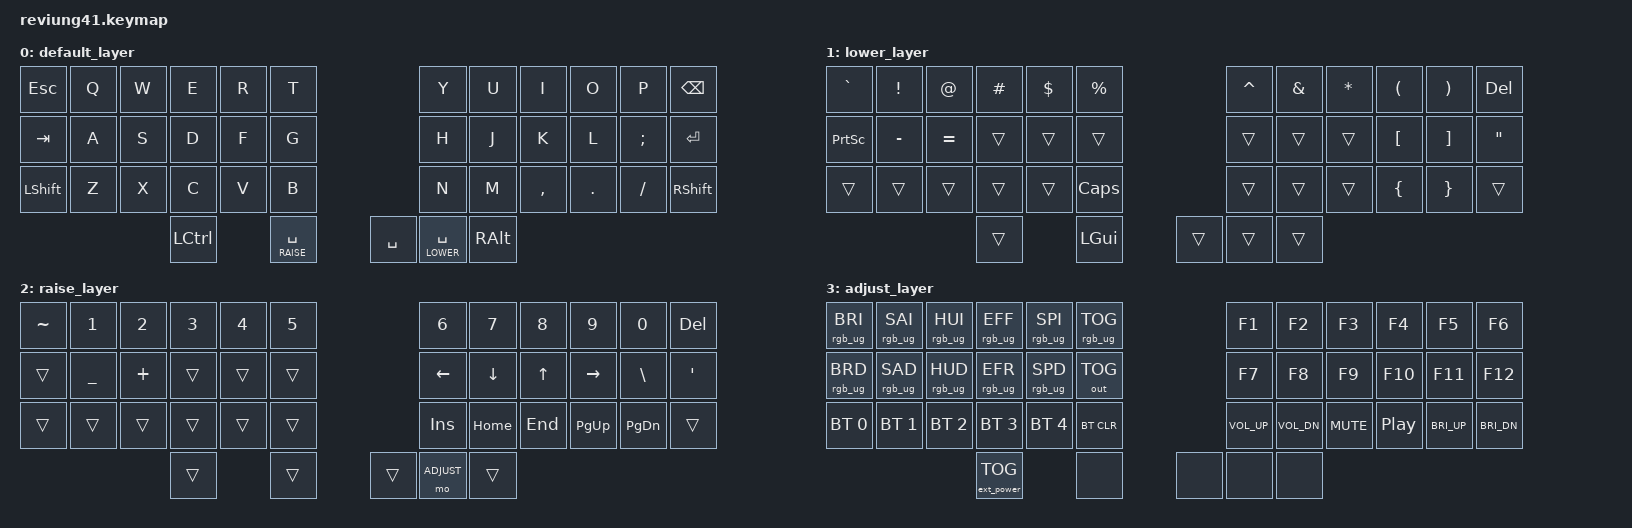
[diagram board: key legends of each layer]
/*
 * Copyright (c) 2023 The ZMK Contributors
 *
 * SPDX-License-Identifier: MIT
 */

#include <behaviors.dtsi>
#include <dt-bindings/zmk/keys.h>
#include <dt-bindings/zmk/bt.h>
#include <dt-bindings/zmk/rgb.h>
#include <dt-bindings/zmk/outputs.h>
#include <dt-bindings/zmk/ext_power.h>

#define DEFAULT 0
#define LOWER   1
#define RAISE   2
#define ADJUST  3

/ {
        keymap {
                compatible = "zmk,keymap";

                default_layer {
// ----------------------------------------------------------------------------------------
// |  ESC |  Q  |  W  |  E  |  R    |  T  |       |  Y  |  U   |  I  |  O  |  P  |  BKSP  |
// |  TAB |  A  |  S  |  D  |  F    |  G  |       |  H  |  J   |  K  |  L  |  ;  |  ENT   |
// | SHFT |  Z  |  X  |  C  |  V    |  B  |       |  N  |  M   |  ,  |  .  |  /  |  SHFT  |
//                          |  CTRL | LWR | SPACE | RSE | ALT  |
// ----------------------------------------------------------------------------------------
                        bindings = <
   &kp ESC   &kp Q &kp W &kp E     &kp R &kp T                       &kp Y           &kp U    &kp I     &kp O   &kp P    &kp BSPC
   &kp TAB   &kp A &kp S &kp D     &kp F &kp G                       &kp H           &kp J    &kp K     &kp L   &kp SEMI &kp ENTER
   &kp LSHFT &kp Z &kp X &kp C     &kp V &kp B                       &kp N           &kp M    &kp COMMA &kp DOT &kp FSLH &kp RSHFT
                         &kp LCTRL       &lt RAISE SPACE  &kp SPACE  &lt LOWER SPACE &kp RALT
                        >;
                };

                lower_layer {
// -----------------------------------------------------------------------------------------
// |  GRV     |  !  |  @  |  #  |  $  |    %   |       |  ^  |  &  |  *  |  (  |  )  | DEL |
// |  PRSCRN  |  -  |  =  |     |     |        |       |     |     |     |  [  |  ]  |  "  |
// |          |     |     |     |     |  CAPS  |       |     |     |     |  {  |  }  |     |
//                              |     |  WIN   | SPACE |     |     |
// -----------------------------------------------------------------------------------------
                        bindings = <
   &kp GRAVE &kp EXCL  &kp AT    &kp HASH  &kp DLLR  &kp PRCNT         &kp CARET &kp AMPS  &kp STAR  &kp LPAR  &kp RPAR  &kp DEL
   &kp PSCRN &kp MINUS &kp EQUAL &trans    &trans    &trans            &trans    &trans    &trans    &kp LBKT  &kp RBKT  &kp DQT
   &trans    &trans    &trans    &trans    &trans    &kp CLCK          &trans    &trans    &trans    &kp LBRC  &kp RBRC   &trans
                                 &trans    &kp LGUI            &trans            &trans    &trans
                        >;
                };

                raise_layer {
// -----------------------------------------------------------------------------------------------
// |  TILDE  |  1  |  2  |  3  |  4  |  5  |       |   6    |  7    |   8  |  9    |  0    | DEL |
// |         |  _  |  +  |     |     |     |       |  LEFT  | DOWN  |  UP  | RGHT  | BSLH  |  '  |
// |         |     |     |     |     |     |       |  INS   | HOME  |  END | PGUP  | PGDN  |     |
//                             |     |     | SPACE |  ADJT  |       |
// -----------------------------------------------------------------------------------------------
                        bindings = <
   &kp TILDE &kp N1    &kp N2    &kp N3    &kp N4    &kp N5             &kp N6     &kp N7     &kp N8    &kp N9     &kp N0    &kp DEL
   &trans    &kp UNDER &kp PLUS  &trans    &trans    &trans             &kp LEFT   &kp DOWN   &kp UP    &kp RIGHT  &kp BSLH  &kp APOS
   &trans    &trans    &trans    &trans    &trans    &trans             &kp INS    &kp HOME   &kp END   &kp PG_UP  &kp PG_DN &trans            
                                 &trans    &trans               &trans             &mo ADJUST &trans
                        >;
                };

                adjust_layer {
// --------------------------------------------------------------------------------------------------------------------
// | RGB BRI+ | RGB SAT+ | RGB HUE+ | RGB ANI+ | RGB SPI+ | RGB TOG |      |  F1  |  F2  |  F3  |  F4   | F5   | F6   |
// | RGB BRI- | RGB SAT- | RGB HUE- | RGB ANI- | RGB SPI- | OUT TOG |      |  F7  |  F8  |  F9  |  F10  | F11  | F12  |
// | BT SEL 0 | BT SEL 1 | BT SEL 2 | BT SEL 3 | BT SEL 4 | BT  CLR |      | VOL+ | VOL- | MUTE | PL/PP | BRI+ | BRI- |
//                                             | EXT PWR  |         |      |      |      |
// --------------------------------------------------------------------------------------------------------------------
                        bindings = <
   &rgb_ug RGB_BRI  &rgb_ug RGB_SAI  &rgb_ug RGB_HUI  &rgb_ug RGB_EFF  &rgb_ug RGB_SPI    &rgb_ug RGB_TOG          &kp F1        &kp F2        &kp F3       &kp F4         &kp F5        &kp F6
   &rgb_ug RGB_BRD  &rgb_ug RGB_SAD  &rgb_ug RGB_HUD  &rgb_ug RGB_EFR  &rgb_ug RGB_SPD    &out OUT_TOG             &kp F7        &kp F8        &kp F9       &kp F10        &kp F11       &kp F12
   &bt BT_SEL 0     &bt BT_SEL 1     &bt BT_SEL 2     &bt BT_SEL 3     &bt BT_SEL 4       &bt BT_CLR               &kp C_VOL_UP  &kp C_VOL_DN  &kp C_MUTE   &kp C_PP       &kp C_BRI_UP  &kp C_BRI_DN
                                                                       &ext_power EP_TOG  &none            &none   &none         &none
                        >;
                };

                extra1 {
                        status = "reserved";
                };

                extra2 {
                        status = "reserved";
                };
        };
};
